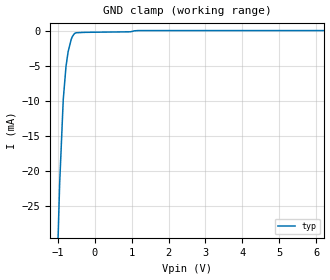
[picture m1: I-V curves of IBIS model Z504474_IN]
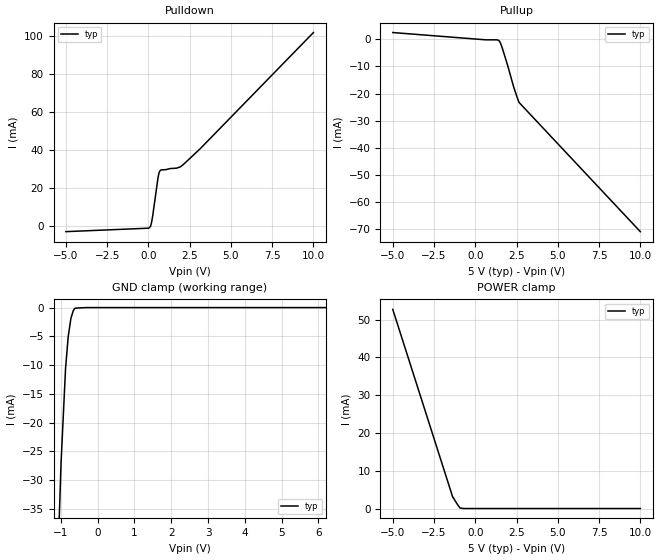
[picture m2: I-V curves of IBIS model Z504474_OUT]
| YOU ARE ONLY AUTHORIZED TO USE THIS SOFTWARE
| ACCORDING TO LICENSOR'S LICENSE RESTRICTIONS.
[IBIS Ver] 3.1
[File Name] sn54ls74aj.ibs
[File Rev] 2.0
[Source] Measured and created by ICX Technology
[Date] Friday 7/14/00 9:08:15 AM
[Copyright]
| (C) COPYRIGHT 1993-2000
| MENTOR GRAPHICS CORPORATION
| ICX STANDARD LIBRARY, ICX PROJECT MODELING,
| ICX CUSTOM MODELING, ICX VENDOR MODEL
| ALL RIGHTS RESERVED.
| THE FOLLOWING ARE TRADEMARKS OR SERVICE MARKS OF
| MENTOR GRAPHICS CORPORATION:ICX (R), ICX STANDARD
| LIBRARY(R), ICX PROJECT MODELING(R), ICX CUSTOM
| MODELING(R), qualityIBIS(TM), MODELVIEWER(TM),
| AND MODELEDITOR(TM)
| ALL COPIES OF SOFTWARE, INCLUDING BUT NOT LIMITED TO
| ANY MODIFICATIONS, ENHANCEMENTS OR DERIVATIVE WORKS,
| MUST CONTAIN ALL MENTOR GRAPHICS CORPORATION'S
| NOTICES AND LEGENDS, INCLUDING THOSE EMBEDDED IN
| SOFTWARE AND THOSE AFFIXED TO SOFTWARE MEDIUM
| AND CONTAINER, AS RECEIVED FROM MENTOR GRAPHICS
| CORPORATION.
|  ZAP Model Builder 2.7
[Component] SN54LS74AJ
[Manufacturer] OnSemiconductor
[Package]
| variable   typ   min   max
R_pkg  .21ohms NA NA
L_pkg  4.543nH NA NA
C_pkg  1.8pF NA NA
[Pin] signal_name  model_name  R_pin  L_pin C_pin
1 _CLR Z504474_IN .22 6.757n 2.434p
2 D Z504474_IN .212 4.757n 1.941p
3 CLK Z504474_IN .204 3.257n 1.448p
4 _PRE Z504474_IN .196 2.257n .955p
5 Q Z504474_OUT .204 3.257n 1.448p
6 _Q Z504474_OUT .212 4.757n 1.941p
7 GND GND .22 6.757n 2.434p
8 _Q Z504474_OUT .22 6.757n 2.434p
9 Q Z504474_OUT .212 4.757n 1.941p
10 _PRE Z504474_IN .204 3.257n 1.448p
11 CLK Z504474_IN .196 2.257n .955p
12 D Z504474_IN .204 3.257n 1.448p
13 _CLR Z504474_IN .212 4.757n 1.941p
14 VCC POWER .22 6.757n 2.434p
| Models and submodels in the file (2): Z504474_IN (Input), Z504474_OUT (Output)
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| (C) COPYRIGHT 1993-2000
| MENTOR GRAPHICS CORPORATION
| ICX STANDARD LIBRARY, ICX PROJECT MODELING,
| ICX CUSTOM MODELING, ICX VENDOR MODEL
| ALL RIGHTS RESERVED.
| THE FOLLOWING ARE TRADEMARKS OR SERVICE MARKS OF
| MENTOR GRAPHICS CORPORATION:ICX (R), ICX STANDARD
| LIBRARY(R), ICX PROJECT MODELING(R), ICX CUSTOM
| MODELING(R), qualityIBIS(TM), MODELVIEWER(TM),
| AND MODELEDITOR(TM)
| ALL COPIES OF SOFTWARE, INCLUDING BUT NOT LIMITED TO
| ANY MODIFICATIONS, ENHANCEMENTS OR DERIVATIVE WORKS,
| MUST CONTAIN ALL MENTOR GRAPHICS CORPORATION'S
| NOTICES AND LEGENDS, INCLUDING THOSE EMBEDDED IN
| SOFTWARE AND THOSE AFFIXED TO SOFTWARE MEDIUM
| AND CONTAINER, AS RECEIVED FROM MENTOR GRAPHICS
| CORPORATION.
| Model Application Version 1.89 2/18/99.
[Model] Z504474_IN
Model_type Input
Vinl = 800.0mV
Vinh = 2.000V
C_comp 4.000pF NA NA
| variable typ   min   max
[Voltage Range] 5.000V NA NA
[GND Clamp Reference] 0.000V NA NA
[POWER Clamp Reference] 5.000V NA NA
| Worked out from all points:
|   GND clamp passes 1 mA (typ) near -0.61 V on its own axis
[GND Clamp]
-5V       -761.1mA   NA         NA
-946.8mV  -21.89mA   NA         NA
-849.3mV  -9.855mA   NA         NA
-775.5mV  -5.137mA   NA         NA
-717.8mV  -3.022mA   NA         NA
-633.9mV  -1.251mA   NA         NA
-600.5mV  -824.9uA   NA         NA
-546.6mV  -425.9uA   NA         NA
-502.9mV  -301.7uA   NA         NA
971.5mV   -166.7uA   NA         NA
1.188V    6.986uA    NA         NA
10V       6.986uA    NA         NA
[POWER Clamp]
-5V       0A         NA         NA
10V       0A         NA         NA
| (C) COPYRIGHT 1993-2000
| MENTOR GRAPHICS CORPORATION
| ICX STANDARD LIBRARY, ICX PROJECT MODELING,
| ICX CUSTOM MODELING, ICX VENDOR MODEL
| ALL RIGHTS RESERVED.
| THE FOLLOWING ARE TRADEMARKS OR SERVICE MARKS OF
| MENTOR GRAPHICS CORPORATION:ICX (R), ICX STANDARD
| LIBRARY(R), ICX PROJECT MODELING(R), ICX CUSTOM
| MODELING(R), qualityIBIS(TM), MODELVIEWER(TM),
| AND MODELEDITOR(TM)
| ALL COPIES OF SOFTWARE, INCLUDING BUT NOT LIMITED TO
| ANY MODIFICATIONS, ENHANCEMENTS OR DERIVATIVE WORKS,
| MUST CONTAIN ALL MENTOR GRAPHICS CORPORATION'S
| NOTICES AND LEGENDS, INCLUDING THOSE EMBEDDED IN
| SOFTWARE AND THOSE AFFIXED TO SOFTWARE MEDIUM
| AND CONTAINER, AS RECEIVED FROM MENTOR GRAPHICS
| CORPORATION.
| Model Application Version 1.89 2/18/99.
[Model] Z504474_OUT
Model_type Output
Vref=5.000V
Rref=2.000kohms
Cref=15.00pF
Vmeas=1.300V
C_comp 8.000pF NA NA
| variable typ   min   max
[Voltage Range] 5.000V NA NA
[POWER Clamp Reference] 5.000V NA NA
[Pullup Reference] 5.000V NA NA
[Pulldown Reference] 0.000V NA NA
[GND Clamp Reference] 0.000V NA NA
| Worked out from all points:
|   slope of the pulldown table from 0 to 0.75 V, typ, clamps not added: 24.6 ohm
|   slope of the pullup table from 0 to 0.75 V, typ, clamps not added: 2.47 kohm
|   GND clamp passes 1 mA (typ) near -0.69 V on its own axis
|   POWER clamp passes 1 mA (typ) near -1.07 V on its own axis
[GND Clamp]
-5V       -1.017A    NA         NA
-1.113V   -49.95mA   NA         NA
-996.1mV  -27.12mA   NA         NA
-873.1mV  -10.57mA   NA         NA
-800.8mV  -5.03mA    NA         NA
-726.2mV  -1.817mA   NA         NA
-664mV    -564.9uA   NA         NA
-625mV    -164uA     NA         NA
-605.5mV  -95uA      NA         NA
-302.7mV  0A         NA         NA
10V       0A         NA         NA
[Pulldown]
-5V       -2.745mA   NA         NA
68.66mV   -609.3uA   NA         NA
132mV     116.1uA    NA         NA
189mV     1.977mA    NA         NA
263.6mV   5.75mA     NA         NA
582.1mV   25.6mA     NA         NA
636.8mV   27.88mA    NA         NA
693.7mV   29.08mA    NA         NA
1.729V    30.59mA    NA         NA
2.109V    32.41mA    NA         NA
3.135V    40.73mA    NA         NA
10V       101.7mA    NA         NA
[Pullup]
-5V       2.547mA    NA         NA
635.5mV   -149.1uA   NA         NA
1.324V    -149.1uA   NA         NA
1.421V    -390.6uA   NA         NA
1.46V     -584.5uA   NA         NA
1.543V    -1.626mA   NA         NA
1.639V    -3.263mA   NA         NA
1.952V    -9.442mA   NA         NA
2.337V    -17.81mA   NA         NA
2.534V    -21.37mA   NA         NA
2.651V    -23.3mA    NA         NA
10V       -71.07mA   NA         NA
[POWER Clamp]
-5V       52.68mA    NA         NA
-1.362V   2.94mA     NA         NA
-1.343V   2.915mA    NA         NA
-1.088V   1.119mA    NA         NA
-928mV    129.6uA    NA         NA
-696mV    0A         NA         NA
10V       0A         NA         NA
[Ramp]
| variable typ min max
dV/dt_r 1.859/9.066n NA NA
dV/dt_f 1.859/5.770n NA NA
R_load = 500.0Ohms
